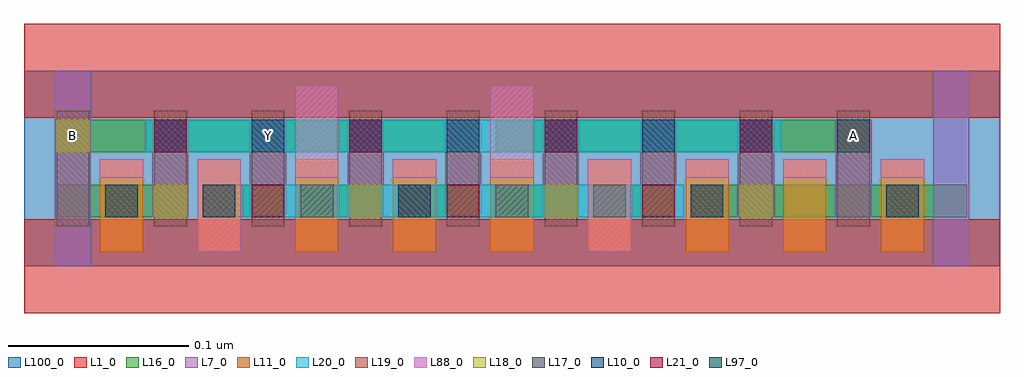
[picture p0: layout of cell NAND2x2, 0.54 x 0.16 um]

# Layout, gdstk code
import gdstk
lib = gdstk.Library(unit=1e-6, precision=2.5e-10)
def R(c, l, rs):  # rectangles x0, y0, x1, y1
    for r in rs: c.add(gdstk.rectangle(r[:2], r[2:], *l))
def A(c, l, x, y, w, h, nx, ny, dx, dy):  # array of equal rectangles
    R(c, l, [(x+i*dx, y+j*dy, x+i*dx+w, y+j*dy+h) for i in range(nx) for j in range(ny)])
L1_0 = (1, 0)
L7_0 = (7, 0)
L10_0 = (10, 0)
L11_0 = (11, 0)
L16_0 = (16, 0)
L17_0 = (17, 0)
L18_0 = (18, 0)
L19_0 = (19, 0)
L20_0 = (20, 0)
L21_0 = (21, 0)
L88_0 = (88, 0)
L97_0 = (97, 0)
L100_0 = (100, 0)

nand2x2 = lib.new_cell('NAND2x2')
R(nand2x2, L1_0, [(0,-0.026,0.54,0.026), (0,0.082,0.54,0.134)])
A(nand2x2, L7_0, 0.071, 0.027, 0.02, 0.054, 8, 1, 0.054, 0)
R(nand2x2, L7_0, [(0.017,0,0.037,0.108), (0.503,0,0.523,0.108)])
A(nand2x2, L10_0, 0.072, 0.063, 0.018, 0.018, 8, 1, 0.054, 0)
A(nand2x2, L11_0, 0.042, 0.008, 0.024, 0.051, 9, 1, 0.054, 0)
A(nand2x2, L16_0, 0.099, 0.027, 0.045, 0.018, 5, 1, 0.054, 0)
R(nand2x2, L16_0, [(0.018,0.027,0.09,0.045), (0.369,0.027,0.522,0.045), (0.018,0.063,0.252,0.081), (0.261,0.063,0.468,0.081)])
A(nand2x2, L17_0, 0.045, 0.027, 0.018, 0.018, 7, 1, 0.054, 0)
R(nand2x2, L17_0, [(0.477,0.027,0.495,0.045)])
A(nand2x2, L18_0, 0.072, 0.027, 0.018, 0.018, 7, 1, 0.054, 0)
R(nand2x2, L18_0, [(0.018,0.063,0.036,0.081), (0.45,0.063,0.468,0.081)])
A(nand2x2, L19_0, 0.018, 0.022, 0.018, 0.064, 9, 1, 0.054, 0)
R(nand2x2, L20_0, [(0.121,0.027,0.365,0.045), (0.067,0.063,0.419,0.081)])
A(nand2x2, L21_0, 0.126, 0.027, 0.018, 0.018, 3, 1, 0.108, 0)
A(nand2x2, L21_0, 0.072, 0.063, 0.018, 0.018, 4, 1, 0.108, 0)
A(nand2x2, L88_0, 0.042, 0.049, 0.024, 0.01, 3, 1, 0.162, 0)
R(nand2x2, L88_0, [(0.096,0.008,0.12,0.059), (0.312,0.008,0.336,0.059), (0.15,0.049,0.174,0.1), (0.258,0.049,0.282,0.1), (0.42,0.049,0.444,0.059), (0.474,0.049,0.498,0.059)])
R(nand2x2, L97_0, [(0.045,0.027,0.063,0.045), (0.099,0.027,0.117,0.045), (0.207,0.027,0.225,0.045), (0.369,0.027,0.387,0.045), (0.477,0.027,0.495,0.045)])
R(nand2x2, L100_0, [(0,0,0.54,0.108)])
nand2x2.add(gdstk.Label('A', (0.459,0.072), layer=19, texttype=251))
nand2x2.add(gdstk.Label('B', (0.027,0.072), layer=19, texttype=251))
nand2x2.add(gdstk.Label('Y', (0.135,0.072), layer=19, texttype=251))

lib.write_gds('NAND2x2.gds')
